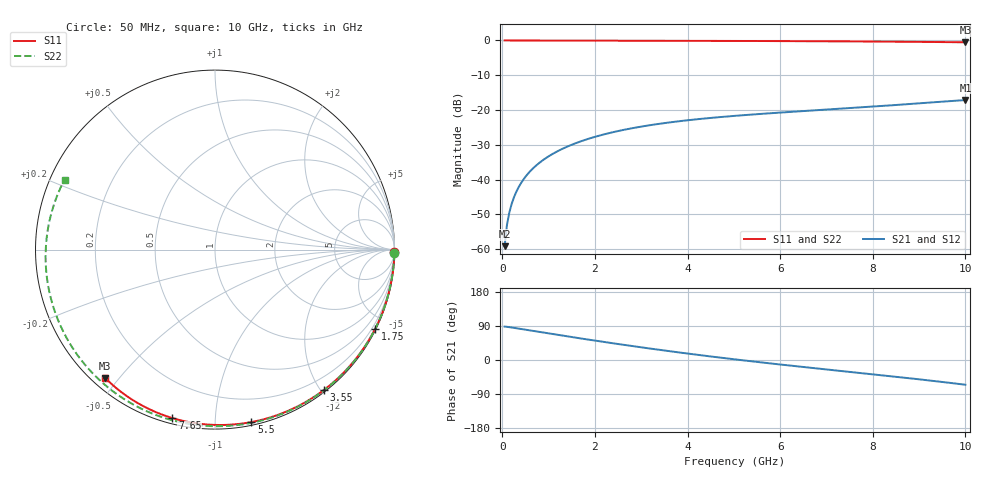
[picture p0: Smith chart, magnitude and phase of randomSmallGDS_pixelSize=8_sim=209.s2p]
! freq	dB(S11)	phase(S11)	dB(S12)	phase(S12)
!  dB(S21)	phase(S21)	dB(S22)	phase(S22)
!S-par simulation data
#  GHz  S  DB  R 50
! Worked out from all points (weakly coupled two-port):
!   200 points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, 50 MHz to 10 GHz, reference 50 ohm
!   highest |S21| = -17.12 dB at 10 GHz (marker M1); lowest = -59.1 dB at 50 MHz (marker M2)
!   lowest |S11| = -0.5 dB at 10 GHz (marker M3), VSWR 32.90, Z = 1.84 - j23 ohm
!   |S11| at or under -10 dB: nowhere
!   |S22| runs from -0.7 to 0.0 dB; largest |S21 - S12| = 0
!   S11 on the Smith chart (normalised r, x): 50 MHz: open; 1.75 GHz: 0.04, -4.27; 3.55 GHz: 0.03, -2.04; 5.5 GHz: 0.02, -1.23; 7.65 GHz: 0.03, -0.78; 10 GHz: 0.04, -0.46
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0.05  -0.00 -0.8  -59.11 88.1  -59.11 88.1  -0.00 -1.2
0.1  -0.00 -1.5  -53.07 87.6  -53.07 87.6  -0.00 -2.5
0.15  -0.00 -2.3  -49.55 86.7  -49.55 86.7  -0.00 -3.7
0.2  -0.00 -3.1  -47.06 85.8  -47.06 85.8  -0.01 -4.9
0.25  -0.01 -3.8  -45.13 84.9  -45.13 84.9  -0.01 -6.1
0.35  -0.01 -5.3  -42.23 82.9  -42.23 82.9  -0.01 -8.5
0.5  -0.01 -7.6  -39.17 79.9  -39.17 79.9  -0.02 -12.1
0.7  -0.01 -10.6  -36.30 75.9  -36.30 75.9  -0.02 -17.0
1  -0.02 -15.2  -33.29 70.1  -33.29 70.1  -0.03 -24.1
1.35  -0.03 -20.4  -30.82 63.3  -30.82 63.3  -0.04 -32.4
1.75  -0.04 -26.4  -28.73 55.8  -28.73 55.8  -0.06 -41.8
2.6  -0.06 -38.8  -25.75 40.4  -25.75 40.4  -0.09 -60.9
3.4  -0.08 -50.1  -23.93 26.7  -23.93 26.7  -0.12 -78.1
3.55  -0.09 -52.2  -23.66 24.2  -23.66 24.2  -0.12 -81.2
4.3  -0.11 -62.4  -22.51 12.4  -22.51 12.4  -0.16 -96.4
5.05  -0.14 -72.3  -21.63 1.3  -21.63 1.3  -0.19 -111.0
5.5  -0.16 -78.1  -21.18 -5.1  -21.18 -5.1  -0.22 -119.5
6.7  -0.22 -92.9  -20.12 -21.1  -20.12 -21.1  -0.30 -141.7
7.65  -0.28 -104.2  -19.31 -33.2  -19.31 -33.2  -0.39 -159.0
8.35  -0.34 -112.2  -18.69 -42.3  -18.69 -42.3  -0.46 -172.1
9.2  -0.43 -121.7  -17.88 -53.7  -17.88 -53.7  -0.57 171.5
10  -0.53 -130.6  -17.12 -65.3  -17.12 -65.3  -0.68 155.0
